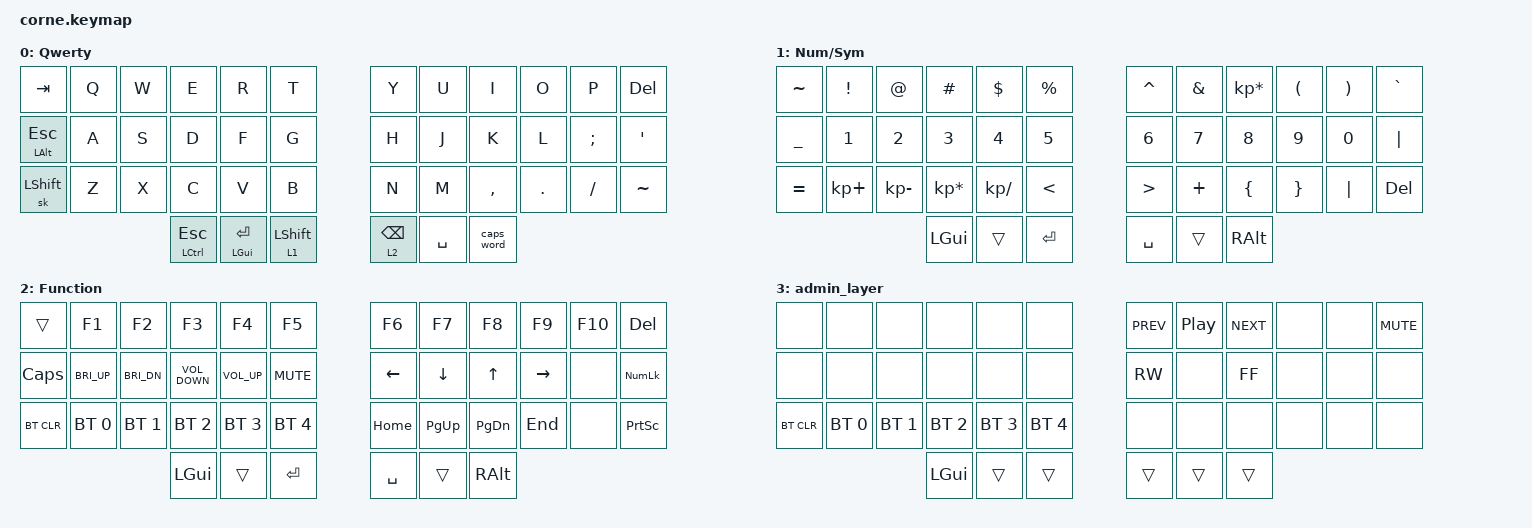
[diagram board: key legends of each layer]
/*
 * Copyright (c) 2020 The ZMK Contributors
 *
 * SPDX-License-Identifier: MIT
 */

#include <behaviors.dtsi>
#include <dt-bindings/zmk/keys.h>
#include <dt-bindings/zmk/bt.h>

#define QWERTY 0
#define NUMSYM 1
#define FUNCTION 2
#define ADMIN 3

&caps_word {
    continue-list = <UNDERSCORE>;
};

&sk {
    release-after-ms = <2000>;
    quick-release;
};

/ {
    keymap {
        compatible = "zmk,keymap";

        qwerty_layer {
            // ------------------------------------------------------------------------------------             -----------------------------------------------------------------
            // | TAB            | Q     | W    | E               | R              | T             |             | Y             | U         | I        | O      | P       | DEL |
            // | ALT/ESC        | A     | S    | D               | F              | G             |             | H             | J         | K        | L      | ;:      | '"  |
            // | SHFT           | Z     | X    | C               | V              | B             |             | N             | M         | ,<       | .>     | /?      | ~   |
            //                                 | CTRL/ESC        | LGUI/RET       | FUNC/CAPS WRD |             | NUMSYM/BSPC   | SPC       | RSHIFT   |
            label = "Qwerty";
            bindings = <
&kp TAB           &kp Q  &kp W  &kp E                 &kp R         &kp T               &kp Y            &kp U      &kp I       &kp O    &kp P     &kp DEL
&mt LEFT_ALT ESC  &kp A  &kp S  &kp D                 &kp F         &kp G               &kp H            &kp J      &kp K       &kp L    &kp SEMI  &kp SQT
&sk LSHIFT        &kp Z  &kp X  &kp C                 &kp V         &kp B               &kp N            &kp M      &kp COMMA   &kp DOT  &kp FSLH  &kp TILDE
                                &mt LEFT_CONTROL ESC  &mt LGUI RET  &lt 1 LEFT_SHIFT    &lt 2 BACKSPACE  &kp SPACE  &caps_word
            >;
        };

        numsym_layer {
            // -----------------------------------------                                                        -------------------------------------
            // | ~       |  !  |  @  |  #  |  $  |  %  |                                                        |  ^  |  &  |  *  |  (  |  )  |  `~ |
            // | _       |  1  |  2  |  3  |  4  |  5  |                                                        |  6  |  7  |  8  |  9  |  0  | "|" |
            // | =       |  +  |  -  |  *  |  /  |  <  |                                                        |  >  |  [  |  ]  |  {  |  }  |  \  |
            //                       | GUI |     | ENT |                                                        | SPC | SPC | ALT |
            label = "Num/Sym";
            bindings = <
&kp TILDE  &kp EXCL     &kp AT        &kp HASH         &kp DLLR       &kp PRCNT    &kp CARET  &kp AMPS  &kp KP_MULTIPLY  &kp LPAR  &kp RPAR  &kp GRAVE
&kp UNDER  &kp N1       &kp N2        &kp N3           &kp N4         &kp N5       &kp N6     &kp N7    &kp N8           &kp N9    &kp N0    &kp PIPE
&kp EQUAL  &kp KP_PLUS  &kp KP_MINUS  &kp KP_MULTIPLY  &kp KP_DIVIDE  &kp LT       &kp GT     &kp PLUS  &kp LBRC         &kp RBRC  &kp PIPE  &kp DEL
                                      &kp LGUI         &trans         &kp RET      &kp SPACE  &trans    &kp RALT
            >;
        };

        function_layer {
            // ----------------------------------------------------                                             --------------------------------------------
            // | TAB   | F1     | F2     | F3     | F4     | F5   |                                             | F6   | F7   | F8   | F9  | F10   | DEL   |
            // | ESC   | BRI UP | BRI DN | VOL UP | VOL DN | MUTE |                                             | LFT  | DWN  | UP   | RGT |       | PSCRN |
            // | BTCLR | BT1    | BT2    | BT3    | BT4    | BT5  |                                             | HOME | PGUP | PGDN | END |       |       |
            //                           | GUI    |        | ENT  |                                             | SPC  |      | ALT  |
            label = "Function";
            bindings = <
&trans        &kp F1        &kp F2        &kp F3             &kp F4           &kp F5          &kp F6     &kp F7     &kp F8     &kp F9     &kp F10  &kp DEL
&kp CAPSLOCK  &kp C_BRI_UP  &kp C_BRI_DN  &kp C_VOLUME_DOWN  &kp C_VOLUME_UP  &kp K_MUTE      &kp LEFT   &kp DOWN   &kp UP     &kp RIGHT  &none    &kp KP_NUMLOCK
&bt BT_CLR    &bt BT_SEL 0  &bt BT_SEL 1  &bt BT_SEL 2       &bt BT_SEL 3     &bt BT_SEL 4    &kp HOME   &kp PG_UP  &kp PG_DN  &kp END    &none    &kp PRINTSCREEN
                                          &kp LGUI           &trans           &kp RET         &kp SPACE  &trans     &kp RALT
            >;
        };

        admin_layer {
            // ----------------------------------------------------                                    ----------------------------------------------------------
            // |       |        |        |        |        |      |                                    | PREV   | PLAY/PAUSE | NEXT    | VOL UP | VOL DN | MUTE |
            // |       |        |        |        |        |      |                                    | REWIND |            | FASTFWD |        |        |      |
            // | BTCLR | BT1    | BT2    | BT3    | BT4    |  BT5 |                                    |        |            |         |        |        |      |
            //                           | GUI    |        |  ENT |                                    |  SPC   |            | ALT     |

            bindings = <
&none       &none         &none         &none         &none         &none           &kp C_PREV  &kp C_PP  &kp C_NEXT  &none  &none  &kp K_MUTE
&none       &none         &none         &none         &none         &none           &kp C_RW    &none     &kp C_FF    &none  &none  &none
&bt BT_CLR  &bt BT_SEL 0  &bt BT_SEL 1  &bt BT_SEL 2  &bt BT_SEL 3  &bt BT_SEL 4    &none       &none     &none       &none  &none  &none
                                        &kp LGUI      &trans        &trans          &trans      &trans    &trans
            >;
        };
    };
};
